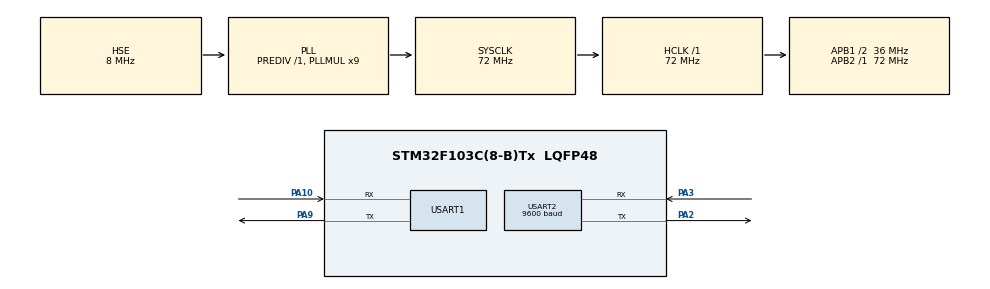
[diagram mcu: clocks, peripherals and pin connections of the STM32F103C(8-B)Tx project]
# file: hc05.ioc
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Mcu.Family=STM32F1
Mcu.Name=STM32F103C(8-B)Tx
Mcu.Package=LQFP48
NVIC.PriorityGroup=NVIC_PRIORITYGROUP_4
NVIC.USART2_IRQn=true\:0\:0\:false\:false\:true\:true\:true\:true
PA10.Mode=Asynchronous
PA10.Signal=USART1_RX
PA13.Mode=Serial_Wire
PA13.Signal=SYS_JTMS-SWDIO
PA14.Mode=Serial_Wire
PA14.Signal=SYS_JTCK-SWCLK
PA2.Mode=Asynchronous
PA2.Signal=USART2_TX
PA3.Mode=Asynchronous
PA3.Signal=USART2_RX
PA9.Mode=Asynchronous
PA9.Signal=USART1_TX
PD0-OSC_IN.Mode=HSE-External-Oscillator
PD0-OSC_IN.Signal=RCC_OSC_IN
PD1-OSC_OUT.Mode=HSE-External-Oscillator
PD1-OSC_OUT.Signal=RCC_OSC_OUT
ProjectManager.HeapSize=0x200
ProjectManager.StackSize=0x400
ProjectManager.TargetToolchain=STM32CubeIDE
RCC.AHBFreq_Value=72000000
RCC.APB1CLKDivider=RCC_HCLK_DIV2
RCC.APB1Freq_Value=36000000
RCC.APB1TimFreq_Value=72000000
RCC.APB2Freq_Value=72000000
RCC.APB2TimFreq_Value=72000000
RCC.HCLKFreq_Value=72000000
RCC.PLLMUL=RCC_PLL_MUL9
RCC.PLLSourceVirtual=RCC_PLLSOURCE_HSE
RCC.SYSCLKFreq_VALUE=72000000
RCC.SYSCLKSource=RCC_SYSCLKSOURCE_PLLCLK
RCC.USBFreq_Value=72000000
USART1.VirtualMode=VM_ASYNC
USART2.BaudRate=9600
USART2.VirtualMode=VM_ASYNC
board=custom

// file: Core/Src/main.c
/* USER CODE BEGIN Header */
/**
  ******************************************************************************
  * @file           : main.c
  * @brief          : Main program body
  ******************************************************************************
  * @attention
  *
  * Copyright (c) 2026 STMicroelectronics.
  * All rights reserved.
  *
  * This software is licensed under terms that can be found in the LICENSE file
  * in the root directory of this software component.
  * If no LICENSE file comes with this software, it is provided AS-IS.
  *
  ******************************************************************************
  */
/* USER CODE END Header */
#include "main.h"

UART_HandleTypeDef huart1;
UART_HandleTypeDef huart2;

/* USER CODE BEGIN PV */
uint8_t  ble_byte;
volatile uint8_t ble_flag = 0;   // 中断里改，主循环读，必须 volatile
uint32_t t_ble = 0;
uint32_t cnt = 0;
/* USER CODE END PV */

void SystemClock_Config(void);
static void MX_GPIO_Init(void);
static void MX_USART1_UART_Init(void);
static void MX_USART2_UART_Init(void);

/* USER CODE BEGIN 0 */
#include <stdio.h>

int _write(int file, char *ptr, int len)
{
  HAL_UART_Transmit(&huart1, (uint8_t *)ptr, len, HAL_MAX_DELAY);
  return len;
}
/* USER CODE END 0 */

int main(void)
{

  /* MCU Configuration--------------------------------------------------------*/

  /* Reset of all peripherals, Initializes the Flash interface and the Systick. */
  HAL_Init();

  /* Configure the system clock */
  SystemClock_Config();

  /* Initialize all configured peripherals */
  MX_GPIO_Init();
  MX_USART1_UART_Init();
  MX_USART2_UART_Init();
  /* USER CODE BEGIN 2 */
  printf("BLE echo test ready.\r\n");
  HAL_UART_Receive_IT(&huart2, &ble_byte, 1);
  /* USER CODE END 2 */

  /* Infinite loop */
  while (1)
  {

    /* USER CODE BEGIN 3 */
	  uint32_t now = HAL_GetTick();

	  // ① 板子 → 手机：每秒主动发一次计数，证明发送方向通
	  if (now - t_ble >= 1000)
	  {
	    t_ble = now;
	    char s[32];
	    int n = sprintf(s, "tick %lu\r\n", cnt++);
	    HAL_UART_Transmit(&huart2, (uint8_t *)s, n, 100);
	  }

	  // ② 手机 → 板子：收到就回发，证明接收方向通
	  if (ble_flag)
	  {
	    ble_flag = 0;
	    printf("BLE recv: '%c' (0x%02X)\r\n", ble_byte, ble_byte);  // 电脑串口同步显示
	    HAL_UART_Transmit(&huart2, &ble_byte, 1, 100);              // 原样发回手机
	  }
  }
  /* USER CODE END 3 */
}

void SystemClock_Config(void)
{
  RCC_OscInitTypeDef RCC_OscInitStruct = {0};
  RCC_ClkInitTypeDef RCC_ClkInitStruct = {0};

  /** Initializes the RCC Oscillators according to the specified parameters
  * in the RCC_OscInitTypeDef structure.
  */
  RCC_OscInitStruct.OscillatorType = RCC_OSCILLATORTYPE_HSE;
  RCC_OscInitStruct.HSEState = RCC_HSE_ON;
  RCC_OscInitStruct.HSEPredivValue = RCC_HSE_PREDIV_DIV1;
  RCC_OscInitStruct.HSIState = RCC_HSI_ON;
  RCC_OscInitStruct.PLL.PLLState = RCC_PLL_ON;
  RCC_OscInitStruct.PLL.PLLSource = RCC_PLLSOURCE_HSE;
  RCC_OscInitStruct.PLL.PLLMUL = RCC_PLL_MUL9;
  if (HAL_RCC_OscConfig(&RCC_OscInitStruct) != HAL_OK)
  {
    Error_Handler();
  }

  /** Initializes the CPU, AHB and APB buses clocks
  */
  RCC_ClkInitStruct.ClockType = RCC_CLOCKTYPE_HCLK|RCC_CLOCKTYPE_SYSCLK
                              |RCC_CLOCKTYPE_PCLK1|RCC_CLOCKTYPE_PCLK2;
  RCC_ClkInitStruct.SYSCLKSource = RCC_SYSCLKSOURCE_PLLCLK;
  RCC_ClkInitStruct.AHBCLKDivider = RCC_SYSCLK_DIV1;
  RCC_ClkInitStruct.APB1CLKDivider = RCC_HCLK_DIV2;
  RCC_ClkInitStruct.APB2CLKDivider = RCC_HCLK_DIV1;

  if (HAL_RCC_ClockConfig(&RCC_ClkInitStruct, FLASH_LATENCY_2) != HAL_OK)
  {
    Error_Handler();
  }
}

static void MX_USART1_UART_Init(void)
{

  huart1.Instance = USART1;
  huart1.Init.BaudRate = 115200;
  huart1.Init.WordLength = UART_WORDLENGTH_8B;
  huart1.Init.StopBits = UART_STOPBITS_1;
  huart1.Init.Parity = UART_PARITY_NONE;
  huart1.Init.Mode = UART_MODE_TX_RX;
  huart1.Init.HwFlowCtl = UART_HWCONTROL_NONE;
  huart1.Init.OverSampling = UART_OVERSAMPLING_16;
  if (HAL_UART_Init(&huart1) != HAL_OK)
  {
    Error_Handler();
  }

}

static void MX_USART2_UART_Init(void)
{

  huart2.Instance = USART2;
  huart2.Init.BaudRate = 9600;
  huart2.Init.WordLength = UART_WORDLENGTH_8B;
  huart2.Init.StopBits = UART_STOPBITS_1;
  huart2.Init.Parity = UART_PARITY_NONE;
  huart2.Init.Mode = UART_MODE_TX_RX;
  huart2.Init.HwFlowCtl = UART_HWCONTROL_NONE;
  huart2.Init.OverSampling = UART_OVERSAMPLING_16;
  if (HAL_UART_Init(&huart2) != HAL_OK)
  {
    Error_Handler();
  }

}

static void MX_GPIO_Init(void)
{

  /* GPIO Ports Clock Enable */
  __HAL_RCC_GPIOD_CLK_ENABLE();
  __HAL_RCC_GPIOA_CLK_ENABLE();

}

/* USER CODE BEGIN 4 */
void HAL_UART_RxCpltCallback(UART_HandleTypeDef *huart)
{
  if (huart->Instance == USART2)
  {
    ble_flag = 1;
    HAL_UART_Receive_IT(&huart2, &ble_byte, 1);   // 必须重新开启，否则只收第一个字节
  }
}
/* USER CODE END 4 */

void Error_Handler(void)
{
  __disable_irq();
  while (1)
  {
  }
}
